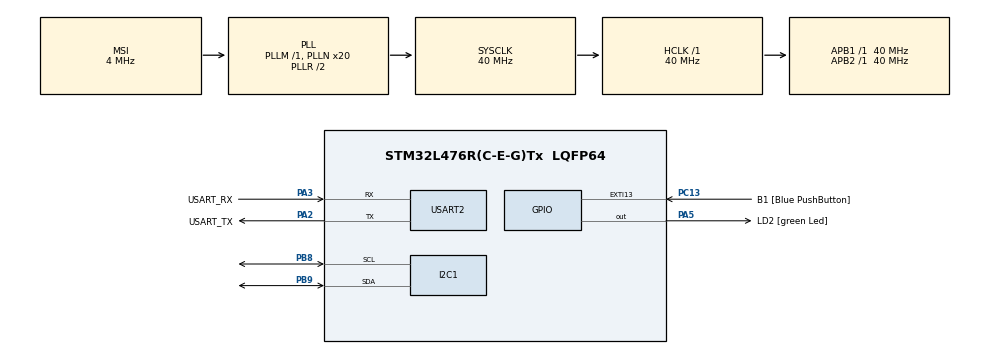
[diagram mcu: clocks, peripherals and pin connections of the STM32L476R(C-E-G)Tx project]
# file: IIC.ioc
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I2C1.Timing=0x00909BEB
Mcu.Family=STM32L4
Mcu.Name=STM32L476R(C-E-G)Tx
Mcu.Package=LQFP64
NVIC.PriorityGroup=NVIC_PRIORITYGROUP_4
PA13\ (JTMS-SWDIO).GPIO_Label=TMS
PA13\ (JTMS-SWDIO).Mode=Serial_Wire
PA13\ (JTMS-SWDIO).Signal=SYS_JTMS-SWDIO
PA14\ (JTCK-SWCLK).GPIO_Label=TCK
PA14\ (JTCK-SWCLK).Mode=Serial_Wire
PA14\ (JTCK-SWCLK).Signal=SYS_JTCK-SWCLK
PA2.GPIO_Label=USART_TX
PA2.GPIO_Mode=GPIO_MODE_AF_PP
PA2.GPIO_PuPd=GPIO_NOPULL
PA2.GPIO_Speed=GPIO_SPEED_FREQ_VERY_HIGH
PA2.Mode=Asynchronous
PA2.Signal=USART2_TX
PA3.GPIO_Label=USART_RX
PA3.GPIO_Mode=GPIO_MODE_AF_PP
PA3.GPIO_PuPd=GPIO_NOPULL
PA3.GPIO_Speed=GPIO_SPEED_FREQ_VERY_HIGH
PA3.Mode=Asynchronous
PA3.Signal=USART2_RX
PA5.GPIO_Label=LD2 [green Led]
PA5.GPIO_ModeDefaultOutputPP=GPIO_MODE_OUTPUT_PP
PA5.GPIO_PuPd=GPIO_NOPULL
PA5.GPIO_Speed=GPIO_SPEED_FREQ_LOW
PA5.Signal=GPIO_Output
PB3\ (JTDO-TRACESWO).GPIO_Label=SWO
PB3\ (JTDO-TRACESWO).Signal=SYS_JTDO-SWO
PB8.Mode=I2C
PB8.Signal=I2C1_SCL
PB9.Mode=I2C
PB9.Signal=I2C1_SDA
PC13.GPIO_Label=B1 [Blue PushButton]
PC13.GPIO_ModeDefaultEXTI=GPIO_MODE_IT_FALLING
PC13.GPIO_PuPd=GPIO_NOPULL
PC13.Signal=GPXTI13
PC14-OSC32_IN\ (PC14).Mode=LSE-External-Oscillator
PC14-OSC32_IN\ (PC14).Signal=RCC_OSC32_IN
PC15-OSC32_OUT\ (PC15).Mode=LSE-External-Oscillator
PC15-OSC32_OUT\ (PC15).Signal=RCC_OSC32_OUT
PH0-OSC_IN\ (PH0).Signal=RCC_OSC_IN
PH1-OSC_OUT\ (PH1).Signal=RCC_OSC_OUT
ProjectManager.HeapSize=0x200
ProjectManager.StackSize=0x400
ProjectManager.TargetToolchain=MDK-ARM V5
RCC.ADCFreq_Value=16000000
RCC.AHBFreq_Value=40000000
RCC.APB1Freq_Value=40000000
RCC.APB1TimFreq_Value=40000000
RCC.APB2Freq_Value=40000000
RCC.APB2TimFreq_Value=40000000
RCC.CortexFreq_Value=40000000
RCC.HCLKFreq_Value=40000000
RCC.HSE_VALUE=8000000
RCC.HSI_VALUE=16000000
RCC.MSI_VALUE=4000000
RCC.PLLN=20
RCC.PREFETCH_ENABLE=1
RCC.SYSCLKFreq_VALUE=40000000
RCC.SYSCLKSource=RCC_SYSCLKSOURCE_PLLCLK
RCC.USBFreq_Value=16000000
RCC.VCOOutputFreq_Value=80000000
USART2.VirtualMode-Asynchronous=VM_ASYNC
board=NUCLEO-L476RG

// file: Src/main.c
/* USER CODE BEGIN Header */
/**
  ******************************************************************************
  * @file           : main.c
  * @brief          : Main program body
  ******************************************************************************
  * @attention
  *
  * <h2><center>&copy; Copyright (c) 2020 STMicroelectronics.
  * All rights reserved.</center></h2>
  *
  * This software component is licensed by ST under BSD 3-Clause license,
  * the "License"; You may not use this file except in compliance with the
  * License. You may obtain a copy of the License at:
  *                        opensource.org/licenses/BSD-3-Clause
  *
  ******************************************************************************
  */
/* USER CODE END Header */

#include "main.h"
#include "i2c.h"
#include "usart.h"
#include "gpio.h"

/* USER CODE BEGIN Includes */
#include <stdio.h>
#include "oled.h"
#include "bmp.h"
/* USER CODE END Includes */

void SystemClock_Config(void);

int main(void)
{

  /* MCU Configuration--------------------------------------------------------*/

  /* Reset of all peripherals, Initializes the Flash interface and the Systick. */
  HAL_Init();

  /* Configure the system clock */
  SystemClock_Config();

  /* Initialize all configured peripherals */
  MX_GPIO_Init();
  MX_I2C1_Init();
  MX_USART2_UART_Init();
  /* USER CODE BEGIN 2 */
	printf("OLED 0.96' TEST...\r\n");
	OLED_Init();
  /* USER CODE END 2 */

  /* Infinite loop */
  while (1)
  {

    /* USER CODE BEGIN 3 */
		OLED_Clear();
    OLED_ShowChar(0, 0, 'A', 16);
    OLED_ShowChar(0, 2, 'B', 16);
    OLED_ShowChar(0, 4, 'C', 16);
    OLED_ShowChar(0, 6, 'D', 16);

    OLED_ShowChar(15, 0, 'A', 12);
    OLED_ShowChar(15, 1, 'B', 12);
    OLED_ShowChar(15, 2, 'C', 12);
    OLED_ShowChar(15, 3, 'D', 12);
    OLED_ShowChar(15, 4, 'E', 12);
    OLED_ShowChar(15, 5, 'F', 12);
    OLED_ShowChar(15, 6, 'G', 12);
    OLED_ShowChar(15, 7, 'H', 12);

    OLED_ShowString(30, 0, "stm32 nucleo", 12);

    OLED_ShowCHinese(35, 2, 0);
    OLED_ShowCHinese(65, 2, 1);
    OLED_ShowCHinese(95, 2, 2);

    OLED_ShowString(36, 6, "IoT Board", 16);

    HAL_Delay(5000);
    OLED_DrawBMP(0, 0, 128, 8,BMP1);

    HAL_Delay(5000);
  }
  /* USER CODE END 3 */
}

void SystemClock_Config(void)
{
  RCC_OscInitTypeDef RCC_OscInitStruct = {0};
  RCC_ClkInitTypeDef RCC_ClkInitStruct = {0};
  RCC_PeriphCLKInitTypeDef PeriphClkInit = {0};

  /** Configure LSE Drive Capability
  */
  HAL_PWR_EnableBkUpAccess();
  __HAL_RCC_LSEDRIVE_CONFIG(RCC_LSEDRIVE_LOW);
  /** Initializes the CPU, AHB and APB busses clocks
  */
  RCC_OscInitStruct.OscillatorType = RCC_OSCILLATORTYPE_LSE|RCC_OSCILLATORTYPE_MSI;
  RCC_OscInitStruct.LSEState = RCC_LSE_ON;
  RCC_OscInitStruct.MSIState = RCC_MSI_ON;
  RCC_OscInitStruct.MSICalibrationValue = 0;
  RCC_OscInitStruct.MSIClockRange = RCC_MSIRANGE_6;
  RCC_OscInitStruct.PLL.PLLState = RCC_PLL_ON;
  RCC_OscInitStruct.PLL.PLLSource = RCC_PLLSOURCE_MSI;
  RCC_OscInitStruct.PLL.PLLM = 1;
  RCC_OscInitStruct.PLL.PLLN = 20;
  RCC_OscInitStruct.PLL.PLLP = RCC_PLLP_DIV7;
  RCC_OscInitStruct.PLL.PLLQ = RCC_PLLQ_DIV2;
  RCC_OscInitStruct.PLL.PLLR = RCC_PLLR_DIV2;
  if (HAL_RCC_OscConfig(&RCC_OscInitStruct) != HAL_OK)
  {
    Error_Handler();
  }
  /** Initializes the CPU, AHB and APB busses clocks
  */
  RCC_ClkInitStruct.ClockType = RCC_CLOCKTYPE_HCLK|RCC_CLOCKTYPE_SYSCLK
                              |RCC_CLOCKTYPE_PCLK1|RCC_CLOCKTYPE_PCLK2;
  RCC_ClkInitStruct.SYSCLKSource = RCC_SYSCLKSOURCE_PLLCLK;
  RCC_ClkInitStruct.AHBCLKDivider = RCC_SYSCLK_DIV1;
  RCC_ClkInitStruct.APB1CLKDivider = RCC_HCLK_DIV1;
  RCC_ClkInitStruct.APB2CLKDivider = RCC_HCLK_DIV1;

  if (HAL_RCC_ClockConfig(&RCC_ClkInitStruct, FLASH_LATENCY_2) != HAL_OK)
  {
    Error_Handler();
  }
  PeriphClkInit.PeriphClockSelection = RCC_PERIPHCLK_USART2|RCC_PERIPHCLK_I2C1;
  PeriphClkInit.Usart2ClockSelection = RCC_USART2CLKSOURCE_PCLK1;
  PeriphClkInit.I2c1ClockSelection = RCC_I2C1CLKSOURCE_PCLK1;
  if (HAL_RCCEx_PeriphCLKConfig(&PeriphClkInit) != HAL_OK)
  {
    Error_Handler();
  }
  /** Configure the main internal regulator output voltage
  */
  if (HAL_PWREx_ControlVoltageScaling(PWR_REGULATOR_VOLTAGE_SCALE1) != HAL_OK)
  {
    Error_Handler();
  }
  /** Enable MSI Auto calibration
  */
  HAL_RCCEx_EnableMSIPLLMode();
}

void Error_Handler(void)
{
}

/************************ (C) COPYRIGHT STMicroelectronics *****END OF FILE****/
